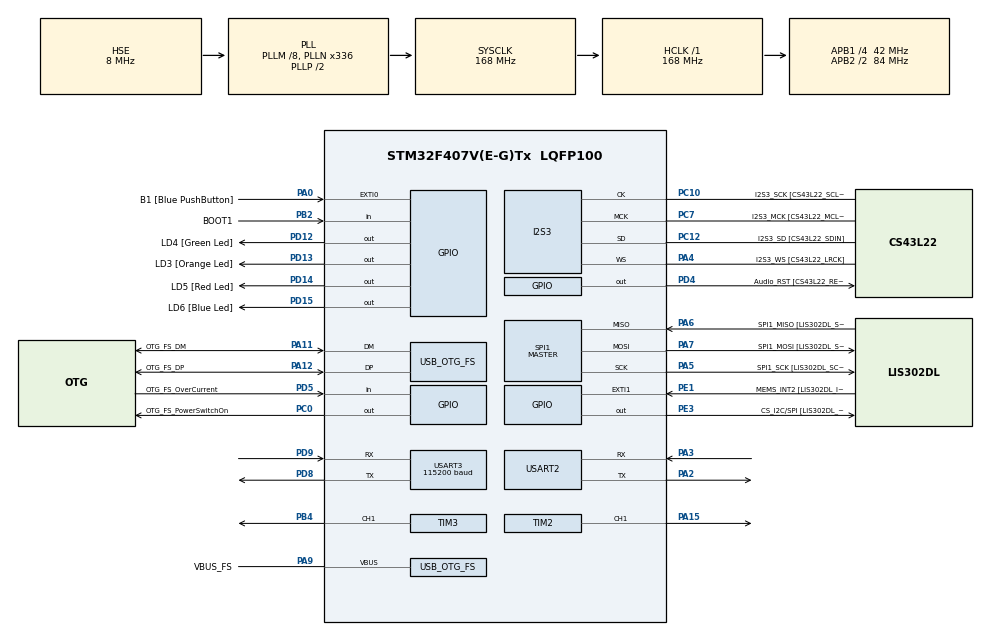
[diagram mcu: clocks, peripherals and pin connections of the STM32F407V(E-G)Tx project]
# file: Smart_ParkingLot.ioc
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FREERTOS.Tasks01=defaultTask,0,128,StartDefaultTask,Default,NULL,Dynamic,NULL,NULL;myTask02,0,256,UltrasonTask,Default,NULL,Dynamic,NULL,NULL;myTask03,-3,128,ServoTask,Default,NULL,Dynamic,NULL,NULL;commTask,0,256,CommunicationTask,Default,NULL,Dynamic,NULL,NULL
I2S3.AudioFreq-Half_Duplex_Master=I2S_AUDIOFREQ_96K
I2S3.ErrorAudioFreq=-2.34 %
I2S3.ErrorAudioFreq-Half_Duplex_Master=0.8 %
I2S3.FullDuplexMode=I2S_FULLDUPLEXMODE_DISABLE
I2S3.Instance=SPI$Index
I2S3.RealAudioFreq=93.75 KHz
I2S3.RealAudioFreq-Half_Duplex_Master=96.774 KHz
I2S3.VirtualMode=I2S_MODE_MASTER
Mcu.Family=STM32F4
Mcu.Name=STM32F407V(E-G)Tx
Mcu.Package=LQFP100
NVIC.OTG_FS_IRQn=true\:5\:0\:false\:false\:true\:true\:true\:true\:true
NVIC.PriorityGroup=NVIC_PRIORITYGROUP_4
NVIC.TIM2_IRQn=true\:5\:0\:false\:false\:true\:true\:true\:true\:true
NVIC.TIM3_IRQn=true\:5\:0\:false\:false\:true\:true\:true\:true\:true
PA0-WKUP.GPIO_Label=B1 [Blue PushButton]
PA0-WKUP.GPIO_ModeDefaultEXTI=GPIO_MODE_EVT_RISING
PA0-WKUP.GPIO_PuPd=GPIO_NOPULL
PA0-WKUP.Signal=GPXTI0
PA10.GPIO_Label=OTG_FS_ID
PA10.GPIO_Mode=GPIO_MODE_AF_PP
PA10.GPIO_PuPd=GPIO_NOPULL
PA10.GPIO_Speed=GPIO_SPEED_FREQ_LOW
PA10.Signal=USB_OTG_FS_ID
PA11.GPIO_Label=OTG_FS_DM
PA11.GPIO_Mode=GPIO_MODE_AF_PP
PA11.GPIO_PuPd=GPIO_NOPULL
PA11.GPIO_Speed=GPIO_SPEED_FREQ_LOW
PA11.Mode=Host_Only
PA11.Signal=USB_OTG_FS_DM
PA12.GPIO_Label=OTG_FS_DP
PA12.GPIO_Mode=GPIO_MODE_AF_PP
PA12.GPIO_PuPd=GPIO_NOPULL
PA12.GPIO_Speed=GPIO_SPEED_FREQ_LOW
PA12.Mode=Host_Only
PA12.Signal=USB_OTG_FS_DP
PA13.GPIO_Label=SWDIO
PA13.Mode=Serial_Wire
PA13.Signal=SYS_JTMS-SWDIO
PA14.GPIO_Label=SWCLK
PA14.Mode=Serial_Wire
PA14.Signal=SYS_JTCK-SWCLK
PA15.Signal=S_TIM2_CH1_ETR
PA2.Mode=Asynchronous
PA2.Signal=USART2_TX
PA3.Mode=Asynchronous
PA3.Signal=USART2_RX
PA4.GPIO_Label=I2S3_WS [CS43L22_LRCK]
PA4.GPIO_Mode=GPIO_MODE_AF_PP
PA4.GPIO_PuPd=GPIO_NOPULL
PA4.GPIO_Speed=GPIO_SPEED_FREQ_LOW
PA4.Mode=Half_Duplex_Master
PA4.Signal=I2S3_WS
PA5.GPIO_Label=SPI1_SCK [LIS302DL_SCL/SPC]
PA5.GPIO_Mode=GPIO_MODE_AF_PP
PA5.GPIO_PuPd=GPIO_NOPULL
PA5.GPIO_Speed=GPIO_SPEED_FREQ_LOW
PA5.Mode=Full_Duplex_Master
PA5.Signal=SPI1_SCK
PA6.GPIO_Label=SPI1_MISO [LIS302DL_SDO]
PA6.GPIO_Mode=GPIO_MODE_AF_PP
PA6.GPIO_PuPd=GPIO_NOPULL
PA6.GPIO_Speed=GPIO_SPEED_FREQ_LOW
PA6.Mode=Full_Duplex_Master
PA6.Signal=SPI1_MISO
PA7.GPIO_Label=SPI1_MOSI [LIS302DL_SDA/SDI/SDO]
PA7.GPIO_Mode=GPIO_MODE_AF_PP
PA7.GPIO_PuPd=GPIO_NOPULL
PA7.GPIO_Speed=GPIO_SPEED_FREQ_LOW
PA7.Mode=Full_Duplex_Master
PA7.Signal=SPI1_MOSI
PA9.GPIO_Label=VBUS_FS
PA9.GPIO_Mode=GPIO_MODE_INPUT
PA9.GPIO_PuPd=GPIO_NOPULL
PA9.Mode=Activate_VBUS
PA9.Signal=USB_OTG_FS_VBUS
PB10.GPIO_Label=CLK_IN [MP45DT02_CLK]
PB10.GPIO_Mode=GPIO_MODE_AF_PP
PB10.GPIO_PuPd=GPIO_NOPULL
PB10.GPIO_Speed=GPIO_SPEED_FREQ_LOW
PB10.Signal=I2S2_CK
PB2.GPIO_Label=BOOT1
PB2.GPIO_Mode=GPIO_MODE_INPUT
PB2.GPIO_PuPd=GPIO_NOPULL
PB2.Signal=GPIO_Input
PB3.GPIO_Label=SWO
PB3.Signal=SYS_JTDO-SWO
PB4.Signal=S_TIM3_CH1
PB6.Signal=I2C1_SCL
PB9.GPIO_Label=Audio_SDA [CS43L22_SDA]
PB9.GPIO_Mode=GPIO_MODE_AF_OD
PB9.GPIO_Pu=GPIO_PULLUP
PB9.GPIO_PuPd=GPIO_NOPULL
PB9.GPIO_Speed=GPIO_SPEED_FREQ_LOW
PB9.Signal=I2C1_SDA
PC0.GPIO_Label=OTG_FS_PowerSwitchOn
PC0.GPIO_PuPd=GPIO_NOPULL
PC0.GPIO_Speed=GPIO_SPEED_FREQ_LOW
PC0.PinState=GPIO_PIN_SET
PC0.Signal=GPIO_Output
PC10.GPIO_Label=I2S3_SCK [CS43L22_SCLK]
PC10.GPIO_Mode=GPIO_MODE_AF_PP
PC10.GPIO_PuPd=GPIO_NOPULL
PC10.GPIO_Speed=GPIO_SPEED_FREQ_LOW
PC10.Mode=Half_Duplex_Master
PC10.Signal=I2S3_CK
PC12.GPIO_Label=I2S3_SD [CS43L22_SDIN]
PC12.GPIO_Mode=GPIO_MODE_AF_PP
PC12.GPIO_PuPd=GPIO_NOPULL
PC12.GPIO_Speed=GPIO_SPEED_FREQ_LOW
PC12.Mode=Half_Duplex_Master
PC12.Signal=I2S3_SD
PC14-OSC32_IN.GPIO_Label=PC14-OSC32_IN
PC14-OSC32_IN.Mode=LSE-External-Oscillator
PC14-OSC32_IN.Signal=RCC_OSC32_IN
PC15-OSC32_OUT.GPIO_Label=PC15-OSC32_OUT
PC15-OSC32_OUT.Mode=LSE-External-Oscillator
PC15-OSC32_OUT.Signal=RCC_OSC32_OUT
PC3.GPIO_Label=PDM_OUT [MP45DT02_DOUT]
PC3.GPIO_Mode=GPIO_MODE_AF_PP
PC3.GPIO_PuPd=GPIO_NOPULL
PC3.GPIO_Speed=GPIO_SPEED_FREQ_LOW
PC3.Signal=I2S2_SD
PC7.GPIO_Label=I2S3_MCK [CS43L22_MCLK]
PC7.GPIO_Mode=GPIO_MODE_AF_PP
PC7.GPIO_PuPd=GPIO_NOPULL
PC7.GPIO_Speed=GPIO_SPEED_FREQ_LOW
PC7.Mode=Master_Clock_Activated
PC7.Signal=I2S3_MCK
PD12.GPIO_Label=LD4 [Green Led]
PD12.GPIO_PuPd=GPIO_NOPULL
PD12.GPIO_Speed=GPIO_SPEED_FREQ_LOW
PD12.Signal=GPIO_Output
PD13.GPIO_Label=LD3 [Orange Led]
PD13.GPIO_PuPd=GPIO_NOPULL
PD13.GPIO_Speed=GPIO_SPEED_FREQ_LOW
PD13.Signal=GPIO_Output
PD14.GPIO_Label=LD5 [Red Led]
PD14.GPIO_PuPd=GPIO_NOPULL
PD14.GPIO_Speed=GPIO_SPEED_FREQ_LOW
PD14.Signal=GPIO_Output
PD15.GPIO_Label=LD6 [Blue Led]
PD15.GPIO_PuPd=GPIO_NOPULL
PD15.GPIO_Speed=GPIO_SPEED_FREQ_LOW
PD15.Signal=GPIO_Output
PD4.GPIO_Label=Audio_RST [CS43L22_RESET]
PD4.GPIO_PuPd=GPIO_NOPULL
PD4.GPIO_Speed=GPIO_SPEED_FREQ_LOW
PD4.Signal=GPIO_Output
PD5.GPIO_Label=OTG_FS_OverCurrent
PD5.GPIO_Mode=GPIO_MODE_INPUT
PD5.GPIO_PuPd=GPIO_NOPULL
PD5.Signal=GPIO_Input
PD8.Mode=Asynchronous
PD8.Signal=USART3_TX
PD9.Mode=Asynchronous
PD9.Signal=USART3_RX
PE1.GPIO_Label=MEMS_INT2 [LIS302DL_INT2]
PE1.GPIO_ModeDefaultEXTI=GPIO_MODE_EVT_RISING
PE1.GPIO_PuPd=GPIO_NOPULL
PE1.Signal=GPXTI1
PE3.GPIO_Label=CS_I2C/SPI [LIS302DL_CS_I2C/SPI]
PE3.GPIO_PuPd=GPIO_NOPULL
PE3.GPIO_Speed=GPIO_SPEED_FREQ_LOW
PE3.Signal=GPIO_Output
PH0-OSC_IN.GPIO_Label=PH0-OSC_IN
PH0-OSC_IN.Mode=HSE-External-Oscillator
PH0-OSC_IN.Signal=RCC_OSC_IN
PH1-OSC_OUT.GPIO_Label=PH1-OSC_OUT
PH1-OSC_OUT.Mode=HSE-External-Oscillator
PH1-OSC_OUT.Signal=RCC_OSC_OUT
ProjectManager.HeapSize=0x200
ProjectManager.StackSize=0x400
ProjectManager.TargetToolchain=STM32CubeIDE
RCC.48MHZClocksFreq_Value=48000000
RCC.AHBFreq_Value=168000000
RCC.APB1CLKDivider=RCC_HCLK_DIV4
RCC.APB1Freq_Value=42000000
RCC.APB1TimFreq_Value=84000000
RCC.APB2CLKDivider=RCC_HCLK_DIV2
RCC.APB2Freq_Value=84000000
RCC.APB2TimFreq_Value=168000000
RCC.CortexFreq_Value=168000000
RCC.HCLKFreq_Value=168000000
RCC.HSE_VALUE=8000000
RCC.HSI_VALUE=16000000
RCC.PLLM=8
RCC.PLLN=336
RCC.PLLQ=7
RCC.SYSCLKFreq_VALUE=168000000
RCC.SYSCLKSource=RCC_SYSCLKSOURCE_PLLCLK
RCC.VCOOutputFreq_Value=336000000
SH.S_TIM2_CH1_ETR.0=TIM2_CH1,PWM Generation1 CH1
SH.S_TIM3_CH1.0=TIM3_CH1,PWM Generation1 CH1
SPI1.BaudRatePrescaler-Full_Duplex_Master=SPI_BAUDRATEPRESCALER_2
SPI1.CalculateBaudRate-Full_Duplex_Master=42.0 MBits/s
SPI1.Direction=SPI_DIRECTION_2LINES
SPI1.Mode=SPI_MODE_MASTER
SPI1.Mode-Full_Duplex_Master=SPI_MODE_MASTER
SPI1.VirtualType=VM_MASTER
TIM2.Channel-PWM\ Generation1\ CH1=TIM_CHANNEL_1
TIM2.Period=65535
TIM2.Prescaler=83
TIM3.AutoReloadPreload=TIM_AUTORELOAD_PRELOAD_ENABLE
TIM3.Channel-PWM\ Generation1\ CH1=TIM_CHANNEL_1
TIM3.Period=19999
TIM3.Prescaler=83
USART2.VirtualMode=VM_ASYNC
USART3.BaudRate=115200
USART3.VirtualMode=VM_ASYNC
USB_HOST.BSP.number=1
USB_HOST.USBH_HandleTypeDef-CDC_FS=hUsbHostFS
USB_HOST.USBH_USE_OS-CDC_FS=0
USB_HOST.VirtualModeFS=Cdc
USB_HOST0.BSP.STBoard=false
USB_HOST0.BSP.api=Unknown
USB_HOST0.BSP.instance=PC0
USB_HOST0.BSP.ip=GPIO
USB_HOST0.BSP.mode=Output
USB_HOST0.BSP.name=Drive_VBUS_FS
USB_HOST0.BSP.solution=PC0
USB_OTG_FS.VirtualMode=Host_Only
USB_OTG_FS.phy_itface=HCD_PHY_EMBEDDED
VP_FREERTOS_VS_CMSIS_V1.Mode=CMSIS_V1
VP_TIM2_VS_ClockSourceINT.Mode=Internal
VP_TIM3_VS_ClockSourceINT.Mode=Internal
VP_USB_HOST_VS_USB_HOST_CDC_FS.Mode=CDC_FS
board=STM32F407G-DISC1

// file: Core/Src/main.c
/* USER CODE BEGIN Header */
/**
  * Parking Intelligent avec FreeRTOS
  * Détection ultrason HC-SR04 -> Ouverture servomoteur
  * TIM2_CH1 sur PA15 pour mesure ECHO
  * Debug via SWV (printf)
  */
/* USER CODE END Header */
#include "main.h"
#include "cmsis_os.h"
#include "usb_host.h"

/* USER CODE BEGIN Includes */
#include <stdbool.h>
#include <string.h>
#include <stdio.h>
/* USER CODE END Includes */

I2S_HandleTypeDef hi2s3;

SPI_HandleTypeDef hspi1;

TIM_HandleTypeDef htim2;
TIM_HandleTypeDef htim3;

UART_HandleTypeDef huart2;
UART_HandleTypeDef huart3;

osThreadId defaultTaskHandle;
osThreadId myTask02Handle;
osThreadId myTask03Handle;
osThreadId commTaskHandle;
/* USER CODE BEGIN PV */
// Variables globales
volatile bool vehicleDetected = false;
volatile uint32_t distance_cm = 0;
volatile uint32_t ic_val1 = 0;
volatile uint32_t ic_val2 = 0;
volatile uint32_t difference = 0;
volatile uint8_t is_first_captured = 0;
volatile bool captureRequested = false;
volatile bool plateAuthorized = false;
char receivedPlate[30] = {0};

#define DISTANCE_THRESHOLD 20  // Distance en cm pour détecter un véhicule
#define SERVO_OPEN_POSITION 2000   // Position ouverte (2ms pulse)
#define SERVO_CLOSE_POSITION 1000  // Position fermée (1ms pulse)
#define TRIG_PIN GPIO_PIN_0
#define TRIG_PORT GPIOA
#define ESP32_SIGNAL_PIN GPIO_PIN_1   //PA1
#define ESP32_SIGNAL_PORT GPIOA
/* USER CODE END PV */

void SystemClock_Config(void);
static void MX_GPIO_Init(void);
static void MX_I2S3_Init(void);
static void MX_SPI1_Init(void);
static void MX_TIM2_Init(void);
static void MX_TIM3_Init(void);
static void MX_USART2_UART_Init(void);
static void MX_USART3_UART_Init(void);
void StartDefaultTask(void const * argument);
void UltrasonTask(void const * argument);
void ServoTask(void const * argument);
void CommunicationTask(void const * argument);

/* USER CODE BEGIN PFP */
// Prototypes des fonctions
void HCSR04_Read(void);
void Servo_SetPosition(uint16_t position);
void Hardware_Init(void);
void HAL_TIM_MspPostInit(TIM_HandleTypeDef* htim);
void delay_us(uint16_t us);
bool CheckPlateInDatabase(const char* plate);
/* USER CODE END PFP */

/* USER CODE BEGIN 0 */

int _write(int file, char *ptr, int len)
{
  for(int i=0; i<len; i++)
  {
    ITM_SendChar((*ptr++));
  }
  return len;
}

void delay_us(uint16_t us)
{
    volatile uint32_t count = us * 42;
    while(count--);
}

/**
 * @brief Lecture HC-SR04 MODE POLLING
 */
void HCSR04_Read(void)
{
    // Envoyer pulse TRIGGER
    HAL_GPIO_WritePin(TRIG_PORT, TRIG_PIN, GPIO_PIN_SET);
    delay_us(10);
    HAL_GPIO_WritePin(TRIG_PORT, TRIG_PIN, GPIO_PIN_RESET);

    // Attendre que ECHO passe à HIGH avec timeout court
    uint32_t timeout = 0;
    while(HAL_GPIO_ReadPin(GPIOA, GPIO_PIN_15) == GPIO_PIN_RESET)
    {
        timeout++;
        if(timeout > 50000) {  // Augmenté
            distance_cm = 0;
            return;
        }
    }

    // Démarrer le compteur
    __HAL_TIM_SET_COUNTER(&htim2, 0);

    // Attendre que ECHO retourne à LOW avec timeout
    timeout = 0;
    while(HAL_GPIO_ReadPin(GPIOA, GPIO_PIN_15) == GPIO_PIN_SET)
    {
        timeout++;
        if(timeout > 100000) {  // Augmenté
            distance_cm = 0;
            return;
        }
    }

    // Lire le temps écoulé
    uint32_t time_us = __HAL_TIM_GET_COUNTER(&htim2);

    // Calculer distance
    if(time_us > 150 && time_us < 23200)
    {
        distance_cm = time_us / 58;
    }
    else
    {
        distance_cm = 0;
    }
}

void Servo_SetPosition(uint16_t position)
{
    __HAL_TIM_SET_COMPARE(&htim3, TIM_CHANNEL_1, position);
}

/* USER CODE END 0 */

int main(void)
{

  /* MCU Configuration--------------------------------------------------------*/

  /* Reset of all peripherals, Initializes the Flash interface and the Systick. */
  HAL_Init();

  /* Configure the system clock */
  SystemClock_Config();

  /* Initialize all configured peripherals */
  MX_GPIO_Init();
  MX_I2S3_Init();
  MX_SPI1_Init();
  MX_TIM2_Init();
  MX_TIM3_Init();
  MX_USART2_UART_Init();
  MX_USART3_UART_Init();
  /* USER CODE BEGIN 2 */

  // Initialiser le hardware avant de démarrer les tâches
  Hardware_Init();
  /* USER CODE END 2 */

  /* Create the thread(s) */
  /* definition and creation of defaultTask */
  osThreadDef(defaultTask, StartDefaultTask, osPriorityNormal, 0, 128);
  defaultTaskHandle = osThreadCreate(osThread(defaultTask), NULL);

  /* definition and creation of myTask02 */
  osThreadDef(myTask02, UltrasonTask, osPriorityNormal, 0, 256);
  myTask02Handle = osThreadCreate(osThread(myTask02), NULL);

  /* definition and creation of myTask03 */
  osThreadDef(myTask03, ServoTask, osPriorityIdle, 0, 128);
  myTask03Handle = osThreadCreate(osThread(myTask03), NULL);

  /* definition and creation of commTask */
  osThreadDef(commTask, CommunicationTask, osPriorityNormal, 0, 256);
  commTaskHandle = osThreadCreate(osThread(commTask), NULL);

  /* Start scheduler */
  osKernelStart();

  /* We should never get here as control is now taken by the scheduler */

  /* Infinite loop */
  while (1)
  {

  }
}

void SystemClock_Config(void)
{
  RCC_OscInitTypeDef RCC_OscInitStruct = {0};
  RCC_ClkInitTypeDef RCC_ClkInitStruct = {0};

  /** Configure the main internal regulator output voltage
  */
  __HAL_RCC_PWR_CLK_ENABLE();
  __HAL_PWR_VOLTAGESCALING_CONFIG(PWR_REGULATOR_VOLTAGE_SCALE1);

  /** Initializes the RCC Oscillators according to the specified parameters
  * in the RCC_OscInitTypeDef structure.
  */
  RCC_OscInitStruct.OscillatorType = RCC_OSCILLATORTYPE_HSE;
  RCC_OscInitStruct.HSEState = RCC_HSE_ON;
  RCC_OscInitStruct.PLL.PLLState = RCC_PLL_ON;
  RCC_OscInitStruct.PLL.PLLSource = RCC_PLLSOURCE_HSE;
  RCC_OscInitStruct.PLL.PLLM = 8;
  RCC_OscInitStruct.PLL.PLLN = 336;
  RCC_OscInitStruct.PLL.PLLP = RCC_PLLP_DIV2;
  RCC_OscInitStruct.PLL.PLLQ = 7;
  if (HAL_RCC_OscConfig(&RCC_OscInitStruct) != HAL_OK)
  {
    Error_Handler();
  }

  /** Initializes the CPU, AHB and APB buses clocks
  */
  RCC_ClkInitStruct.ClockType = RCC_CLOCKTYPE_HCLK|RCC_CLOCKTYPE_SYSCLK
                              |RCC_CLOCKTYPE_PCLK1|RCC_CLOCKTYPE_PCLK2;
  RCC_ClkInitStruct.SYSCLKSource = RCC_SYSCLKSOURCE_PLLCLK;
  RCC_ClkInitStruct.AHBCLKDivider = RCC_SYSCLK_DIV1;
  RCC_ClkInitStruct.APB1CLKDivider = RCC_HCLK_DIV4;
  RCC_ClkInitStruct.APB2CLKDivider = RCC_HCLK_DIV2;

  if (HAL_RCC_ClockConfig(&RCC_ClkInitStruct, FLASH_LATENCY_5) != HAL_OK)
  {
    Error_Handler();
  }
}

static void MX_I2S3_Init(void)
{

  hi2s3.Instance = SPI3;
  hi2s3.Init.Mode = I2S_MODE_MASTER_TX;
  hi2s3.Init.Standard = I2S_STANDARD_PHILIPS;
  hi2s3.Init.DataFormat = I2S_DATAFORMAT_16B;
  hi2s3.Init.MCLKOutput = I2S_MCLKOUTPUT_ENABLE;
  hi2s3.Init.AudioFreq = I2S_AUDIOFREQ_96K;
  hi2s3.Init.CPOL = I2S_CPOL_LOW;
  hi2s3.Init.ClockSource = I2S_CLOCK_PLL;
  hi2s3.Init.FullDuplexMode = I2S_FULLDUPLEXMODE_DISABLE;
  if (HAL_I2S_Init(&hi2s3) != HAL_OK)
  {
    Error_Handler();
  }

}

static void MX_SPI1_Init(void)
{

  /* SPI1 parameter configuration*/
  hspi1.Instance = SPI1;
  hspi1.Init.Mode = SPI_MODE_MASTER;
  hspi1.Init.Direction = SPI_DIRECTION_2LINES;
  hspi1.Init.DataSize = SPI_DATASIZE_8BIT;
  hspi1.Init.CLKPolarity = SPI_POLARITY_LOW;
  hspi1.Init.CLKPhase = SPI_PHASE_1EDGE;
  hspi1.Init.NSS = SPI_NSS_SOFT;
  hspi1.Init.BaudRatePrescaler = SPI_BAUDRATEPRESCALER_2;
  hspi1.Init.FirstBit = SPI_FIRSTBIT_MSB;
  hspi1.Init.TIMode = SPI_TIMODE_DISABLE;
  hspi1.Init.CRCCalculation = SPI_CRCCALCULATION_DISABLE;
  hspi1.Init.CRCPolynomial = 10;
  if (HAL_SPI_Init(&hspi1) != HAL_OK)
  {
    Error_Handler();
  }

}

static void MX_TIM2_Init(void)
{

  TIM_ClockConfigTypeDef sClockSourceConfig = {0};
  TIM_MasterConfigTypeDef sMasterConfig = {0};
  TIM_OC_InitTypeDef sConfigOC = {0};

  htim2.Instance = TIM2;
  htim2.Init.Prescaler = 83;
  htim2.Init.CounterMode = TIM_COUNTERMODE_UP;
  htim2.Init.Period = 65535;
  htim2.Init.ClockDivision = TIM_CLOCKDIVISION_DIV1;
  htim2.Init.AutoReloadPreload = TIM_AUTORELOAD_PRELOAD_DISABLE;
  if (HAL_TIM_Base_Init(&htim2) != HAL_OK)
  {
    Error_Handler();
  }
  sClockSourceConfig.ClockSource = TIM_CLOCKSOURCE_INTERNAL;
  if (HAL_TIM_ConfigClockSource(&htim2, &sClockSourceConfig) != HAL_OK)
  {
    Error_Handler();
  }
  if (HAL_TIM_PWM_Init(&htim2) != HAL_OK)
  {
    Error_Handler();
  }
  sMasterConfig.MasterOutputTrigger = TIM_TRGO_RESET;
  sMasterConfig.MasterSlaveMode = TIM_MASTERSLAVEMODE_DISABLE;
  if (HAL_TIMEx_MasterConfigSynchronization(&htim2, &sMasterConfig) != HAL_OK)
  {
    Error_Handler();
  }
  sConfigOC.OCMode = TIM_OCMODE_PWM1;
  sConfigOC.Pulse = 0;
  sConfigOC.OCPolarity = TIM_OCPOLARITY_HIGH;
  sConfigOC.OCFastMode = TIM_OCFAST_DISABLE;
  if (HAL_TIM_PWM_ConfigChannel(&htim2, &sConfigOC, TIM_CHANNEL_1) != HAL_OK)
  {
    Error_Handler();
  }
  HAL_TIM_MspPostInit(&htim2);

}

static void MX_TIM3_Init(void)
{

  TIM_ClockConfigTypeDef sClockSourceConfig = {0};
  TIM_MasterConfigTypeDef sMasterConfig = {0};
  TIM_OC_InitTypeDef sConfigOC = {0};

  htim3.Instance = TIM3;
  htim3.Init.Prescaler = 83;
  htim3.Init.CounterMode = TIM_COUNTERMODE_UP;
  htim3.Init.Period = 19999;
  htim3.Init.ClockDivision = TIM_CLOCKDIVISION_DIV1;
  htim3.Init.AutoReloadPreload = TIM_AUTORELOAD_PRELOAD_ENABLE;
  if (HAL_TIM_Base_Init(&htim3) != HAL_OK)
  {
    Error_Handler();
  }
  sClockSourceConfig.ClockSource = TIM_CLOCKSOURCE_INTERNAL;
  if (HAL_TIM_ConfigClockSource(&htim3, &sClockSourceConfig) != HAL_OK)
  {
    Error_Handler();
  }
  if (HAL_TIM_PWM_Init(&htim3) != HAL_OK)
  {
    Error_Handler();
  }
  sMasterConfig.MasterOutputTrigger = TIM_TRGO_RESET;
  sMasterConfig.MasterSlaveMode = TIM_MASTERSLAVEMODE_DISABLE;
  if (HAL_TIMEx_MasterConfigSynchronization(&htim3, &sMasterConfig) != HAL_OK)
  {
    Error_Handler();
  }
  sConfigOC.OCMode = TIM_OCMODE_PWM1;
  sConfigOC.Pulse = 0;
  sConfigOC.OCPolarity = TIM_OCPOLARITY_HIGH;
  sConfigOC.OCFastMode = TIM_OCFAST_DISABLE;
  if (HAL_TIM_PWM_ConfigChannel(&htim3, &sConfigOC, TIM_CHANNEL_1) != HAL_OK)
  {
    Error_Handler();
  }
  HAL_TIM_MspPostInit(&htim3);

}

static void MX_USART2_UART_Init(void)
{

  huart2.Instance = USART2;
  huart2.Init.BaudRate = 115200;
  huart2.Init.WordLength = UART_WORDLENGTH_8B;
  huart2.Init.StopBits = UART_STOPBITS_1;
  huart2.Init.Parity = UART_PARITY_NONE;
  huart2.Init.Mode = UART_MODE_TX_RX;
  huart2.Init.HwFlowCtl = UART_HWCONTROL_NONE;
  huart2.Init.OverSampling = UART_OVERSAMPLING_16;
  if (HAL_UART_Init(&huart2) != HAL_OK)
  {
    Error_Handler();
  }

}

static void MX_USART3_UART_Init(void)
{

  huart3.Instance = USART3;
  huart3.Init.BaudRate = 115200;
  huart3.Init.WordLength = UART_WORDLENGTH_8B;
  huart3.Init.StopBits = UART_STOPBITS_1;
  huart3.Init.Parity = UART_PARITY_NONE;
  huart3.Init.Mode = UART_MODE_TX_RX;
  huart3.Init.HwFlowCtl = UART_HWCONTROL_NONE;
  huart3.Init.OverSampling = UART_OVERSAMPLING_16;
  if (HAL_UART_Init(&huart3) != HAL_OK)
  {
    Error_Handler();
  }

}

static void MX_GPIO_Init(void)
{
  GPIO_InitTypeDef GPIO_InitStruct = {0};

  /* GPIO Ports Clock Enable */
  __HAL_RCC_GPIOE_CLK_ENABLE();
  __HAL_RCC_GPIOC_CLK_ENABLE();
  __HAL_RCC_GPIOH_CLK_ENABLE();
  __HAL_RCC_GPIOA_CLK_ENABLE();
  __HAL_RCC_GPIOB_CLK_ENABLE();
  __HAL_RCC_GPIOD_CLK_ENABLE();

  /*Configure GPIO pin Output Level */
  HAL_GPIO_WritePin(CS_I2C_SPI_GPIO_Port, CS_I2C_SPI_Pin, GPIO_PIN_RESET);

  /*Configure GPIO pin Output Level */
  HAL_GPIO_WritePin(OTG_FS_PowerSwitchOn_GPIO_Port, OTG_FS_PowerSwitchOn_Pin, GPIO_PIN_SET);

  /*Configure GPIO pin Output Level */
  HAL_GPIO_WritePin(GPIOD, LD4_Pin|LD3_Pin|LD5_Pin|LD6_Pin
                          |Audio_RST_Pin, GPIO_PIN_RESET);

  /*Configure GPIO pin : CS_I2C_SPI_Pin */
  GPIO_InitStruct.Pin = CS_I2C_SPI_Pin;
  GPIO_InitStruct.Mode = GPIO_MODE_OUTPUT_PP;
  GPIO_InitStruct.Pull = GPIO_NOPULL;
  GPIO_InitStruct.Speed = GPIO_SPEED_FREQ_LOW;
  HAL_GPIO_Init(CS_I2C_SPI_GPIO_Port, &GPIO_InitStruct);

  /*Configure GPIO pin : OTG_FS_PowerSwitchOn_Pin */
  GPIO_InitStruct.Pin = OTG_FS_PowerSwitchOn_Pin;
  GPIO_InitStruct.Mode = GPIO_MODE_OUTPUT_PP;
  GPIO_InitStruct.Pull = GPIO_NOPULL;
  GPIO_InitStruct.Speed = GPIO_SPEED_FREQ_LOW;
  HAL_GPIO_Init(OTG_FS_PowerSwitchOn_GPIO_Port, &GPIO_InitStruct);

  /*Configure GPIO pin : PDM_OUT_Pin */
  GPIO_InitStruct.Pin = PDM_OUT_Pin;
  GPIO_InitStruct.Mode = GPIO_MODE_AF_PP;
  GPIO_InitStruct.Pull = GPIO_NOPULL;
  GPIO_InitStruct.Speed = GPIO_SPEED_FREQ_LOW;
  GPIO_InitStruct.Alternate = GPIO_AF5_SPI2;
  HAL_GPIO_Init(PDM_OUT_GPIO_Port, &GPIO_InitStruct);

  /*Configure GPIO pin : B1_Pin */
  GPIO_InitStruct.Pin = B1_Pin;
  GPIO_InitStruct.Mode = GPIO_MODE_EVT_RISING;
  GPIO_InitStruct.Pull = GPIO_NOPULL;
  HAL_GPIO_Init(B1_GPIO_Port, &GPIO_InitStruct);

  /*Configure GPIO pin : BOOT1_Pin */
  GPIO_InitStruct.Pin = BOOT1_Pin;
  GPIO_InitStruct.Mode = GPIO_MODE_INPUT;
  GPIO_InitStruct.Pull = GPIO_NOPULL;
  HAL_GPIO_Init(BOOT1_GPIO_Port, &GPIO_InitStruct);

  /*Configure GPIO pin : CLK_IN_Pin */
  GPIO_InitStruct.Pin = CLK_IN_Pin;
  GPIO_InitStruct.Mode = GPIO_MODE_AF_PP;
  GPIO_InitStruct.Pull = GPIO_NOPULL;
  GPIO_InitStruct.Speed = GPIO_SPEED_FREQ_LOW;
  GPIO_InitStruct.Alternate = GPIO_AF5_SPI2;
  HAL_GPIO_Init(CLK_IN_GPIO_Port, &GPIO_InitStruct);

  /*Configure GPIO pins : LD4_Pin LD3_Pin LD5_Pin LD6_Pin
                           Audio_RST_Pin */
  GPIO_InitStruct.Pin = LD4_Pin|LD3_Pin|LD5_Pin|LD6_Pin
                          |Audio_RST_Pin;
  GPIO_InitStruct.Mode = GPIO_MODE_OUTPUT_PP;
  GPIO_InitStruct.Pull = GPIO_NOPULL;
  GPIO_InitStruct.Speed = GPIO_SPEED_FREQ_LOW;
  HAL_GPIO_Init(GPIOD, &GPIO_InitStruct);

  /*Configure GPIO pin : OTG_FS_OverCurrent_Pin */
  GPIO_InitStruct.Pin = OTG_FS_OverCurrent_Pin;
  GPIO_InitStruct.Mode = GPIO_MODE_INPUT;
  GPIO_InitStruct.Pull = GPIO_NOPULL;
  HAL_GPIO_Init(OTG_FS_OverCurrent_GPIO_Port, &GPIO_InitStruct);

  /*Configure GPIO pin : PB6 */
  GPIO_InitStruct.Pin = GPIO_PIN_6;
  GPIO_InitStruct.Mode = GPIO_MODE_AF_OD;
  GPIO_InitStruct.Pull = GPIO_NOPULL;
  GPIO_InitStruct.Speed = GPIO_SPEED_FREQ_VERY_HIGH;
  GPIO_InitStruct.Alternate = GPIO_AF4_I2C1;
  HAL_GPIO_Init(GPIOB, &GPIO_InitStruct);

  /*Configure GPIO pin : Audio_SDA_Pin */
  GPIO_InitStruct.Pin = Audio_SDA_Pin;
  GPIO_InitStruct.Mode = GPIO_MODE_AF_OD;
  GPIO_InitStruct.Pull = GPIO_PULLUP;
  GPIO_InitStruct.Speed = GPIO_SPEED_FREQ_LOW;
  GPIO_InitStruct.Alternate = GPIO_AF4_I2C1;
  HAL_GPIO_Init(Audio_SDA_GPIO_Port, &GPIO_InitStruct);

  /*Configure GPIO pin : MEMS_INT2_Pin */
  GPIO_InitStruct.Pin = MEMS_INT2_Pin;
  GPIO_InitStruct.Mode = GPIO_MODE_EVT_RISING;
  GPIO_InitStruct.Pull = GPIO_NOPULL;
  HAL_GPIO_Init(MEMS_INT2_GPIO_Port, &GPIO_InitStruct);

/* USER CODE BEGIN MX_GPIO_Init_2 */
  // Configuration PA0 - HC-SR04 Trigger (Output)
    GPIO_InitStruct.Pin = GPIO_PIN_0;
    GPIO_InitStruct.Mode = GPIO_MODE_OUTPUT_PP;  // �? Simple OUTPUT
    GPIO_InitStruct.Pull = GPIO_NOPULL;
    GPIO_InitStruct.Speed = GPIO_SPEED_FREQ_LOW;
    HAL_GPIO_Init(GPIOA, &GPIO_InitStruct);

  // PA15 configuré automatiquement comme TIM2_CH1
/* USER CODE END MX_GPIO_Init_2 */
}

/* USER CODE BEGIN 4 */

void Hardware_Init(void)
{
    // Démarrer TIM2 pour ultrason
    HAL_TIM_Base_Start(&htim2);

    // Démarrer PWM pour servomoteur
    HAL_TIM_PWM_Start(&htim3, TIM_CHANNEL_1);
    Servo_SetPosition(SERVO_CLOSE_POSITION);
    printf("\r\n=== TEST USART3 ===\r\n");

        // Test simple
        char test[] = "TEST\n";
        HAL_StatusTypeDef status = HAL_UART_Transmit(&huart3, (uint8_t*)test, 5, 1000);

        if(status == HAL_OK) {
            printf("USART3 TX: OK\r\n");
        } else {
            printf("USART3 TX: FAILED (status=%d)\r\n", status);
        }

    printf("\r\n=================================\r\n");
    printf("  PARKING INTELLIGENT V2.0\r\n");
    printf("=================================\r\n");
    printf("USART2 (PA2/PA3) : Debug SWV\r\n");
    printf("USART3 (PB10/PB11): ESP32-CAM\r\n");
    printf("PA0  : HC-SR04 TRIGGER\r\n");
    printf("PA15 : HC-SR04 ECHO\r\n");
    printf("PB4  : Servomoteur PWM\r\n");
    printf("Seuil detection: %d cm\r\n", DISTANCE_THRESHOLD);
    printf("=================================\r\n\r\n");
}

/* USER CODE END 4 */

void StartDefaultTask(void const * argument)
{
  /* init code for USB_HOST */
  MX_USB_HOST_Init();
  for(;;)
  {
    osDelay(1);
  }
}

void UltrasonTask(void const * argument)
{
  /* USER CODE BEGIN UltrasonTask */
  printf("Tache Ultrason demarree\r\n");

  for(;;)
  {
    if(!captureRequested)
    {
      HCSR04_Read();

      printf("Distance: %lu cm\r\n", distance_cm);

      if(distance_cm > 0 && distance_cm < DISTANCE_THRESHOLD)
      {
        if(!vehicleDetected)
        {
          vehicleDetected = true;
          captureRequested = true;
          printf("\r\n>>> VEHICULE DETECTE: %lu cm <<<\r\n", distance_cm);
        }
      }
      else
      {
        vehicleDetected = false;
      }
    }

    osDelay(500);
  }
  /* USER CODE END UltrasonTask */
}

void ServoTask(void const * argument)
{
  /* USER CODE BEGIN ServoTask */
  bool barrierOpen = false;
  bool lastVehicleState = false;

  printf("Tache Servo demarree\r\n\r\n");

  for(;;)
  {
    //Nouveau véhicule détecté
    if(vehicleDetected && !lastVehicleState)
    {
      lastVehicleState = true;
      printf("Attente reponse ESP32...\r\n");
    }

    //Si autorisé et barrière fermée
    if(plateAuthorized && !barrierOpen)
    {
      Servo_SetPosition(SERVO_OPEN_POSITION);
      barrierOpen = true;
      printf("\r\n*** BARRIERE OUVERTE ***\r\n");
      printf("Matricule: %s\r\n\r\n", receivedPlate);
    }

    //Véhicule parti et barrière ouverte
    if(!vehicleDetected && barrierOpen)
    {
      printf("Vehicule passe, fermeture dans 3s...\r\n");
      osDelay(3000);

      Servo_SetPosition(SERVO_CLOSE_POSITION);
      barrierOpen = false;
      plateAuthorized = false;
      memset(receivedPlate, 0, sizeof(receivedPlate));

      printf("*** BARRIERE FERMEE ***\r\n\r\n");
    }

    // Reset état
    if(!vehicleDetected && lastVehicleState)
    {
      lastVehicleState = false;
    }

    osDelay(100);
  }
  /* USER CODE END ServoTask */
}

void CommunicationTask(void const * argument)
{
  uint8_t rxBuffer[200];

  printf("Tache Communication ESP32 demarree\r\n");

  for(;;)
  {
    if(captureRequested)
    {
      printf("\r\n>>> Demande capture ESP32...\r\n");

      //Envoyer CAPTURE
      char cmd[] = "CAPTURE\n";  // ← IMPORTANT !
      HAL_UART_Transmit(&huart3, (uint8_t*)cmd, strlen(cmd), 1000);

      //Recevoir réponse
      memset(rxBuffer, 0, sizeof(rxBuffer));
      uint16_t idx = 0;
      uint32_t startTime = osKernelSysTick();

      printf("Attente reponse...\r\n");

      while(idx < 199 && (osKernelSysTick() - startTime) < 90000)
      {
        uint8_t c;
        HAL_StatusTypeDef status = HAL_UART_Receive(&huart3, &c, 1, 100);

        if(status == HAL_OK)
        {
          rxBuffer[idx++] = c;
          if(c == '\n') break;
          startTime = osKernelSysTick();
        }

        osDelay(1);
      }

      if(idx > 0)
      {
        rxBuffer[idx] = '\0';
        printf("Reponse ESP32: %s\r\n", rxBuffer);

        //Parser JSON
        char *plate_start = strstr((char*)rxBuffer, "\"plate\":\"");
        char *auth_start = strstr((char*)rxBuffer, "\"authorized\":");

        if(plate_start && auth_start)
        {
          //Extraire plaque
          plate_start += 9;
          char *plate_end = strchr(plate_start, '"');
          if(plate_end)
          {
            int len = plate_end - plate_start;
            if(len > 0 && len < 30)
            {
              strncpy(receivedPlate, plate_start, len);
              receivedPlate[len] = '\0';
              printf("Matricule: %s\r\n", receivedPlate);
            }
          }

          //Extraire authorized
          auth_start += 13;
          if(strncmp(auth_start, "true", 4) == 0)
          {
            plateAuthorized = true;
            printf(">>> ACCES AUTORISE <<<\r\n");
          }
          else
          {
            plateAuthorized = false;
            printf(">>> ACCES REFUSE <<<\r\n");
          }
        }
      }
      else
      {
        printf("ERREUR: Timeout ESP32\r\n");
        plateAuthorized = false;
      }

      captureRequested = false;
    }

    osDelay(100);
  }
}

void Error_Handler(void)
{
  __disable_irq();
  while (1)
  {
  }
}
